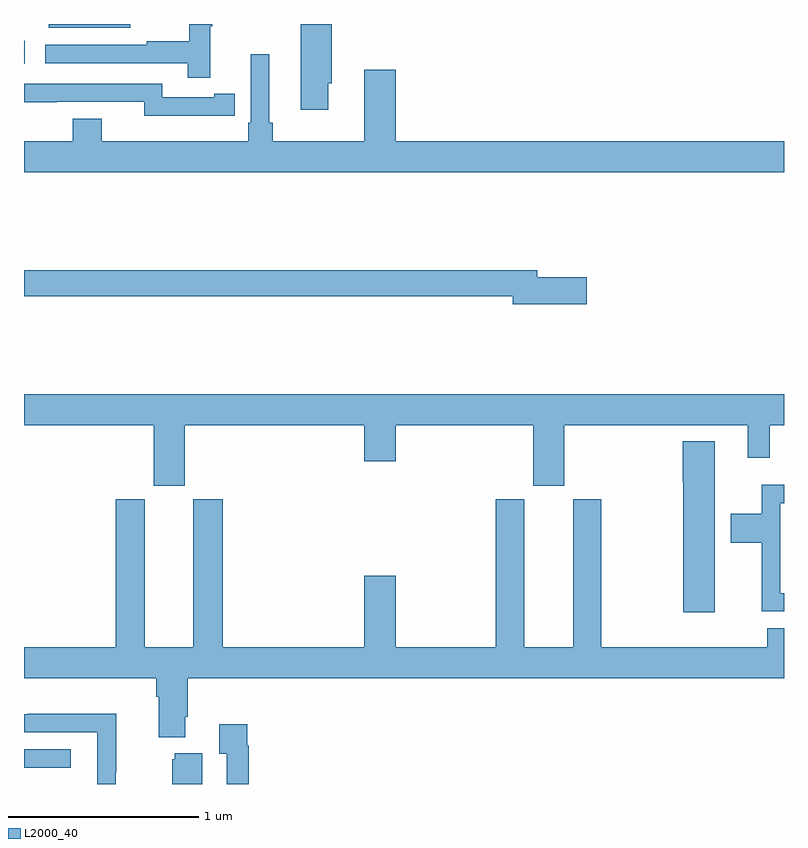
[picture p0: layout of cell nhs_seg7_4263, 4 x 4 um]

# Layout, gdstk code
import gdstk
lib = gdstk.Library(unit=1e-6, precision=1e-09)
def R(c, l, rs):  # rectangles x0, y0, x1, y1
    for r in rs: c.add(gdstk.rectangle(r[:2], r[2:], *l))
def P(c, l, *ps):  # polygons
    for p in ps: c.add(gdstk.Polygon(p, *l))
L2000_40 = (2000, 40)

nhs_seg7_4263 = lib.new_cell('nhs_seg7_4263')
R(nhs_seg7_4263, L2000_40, [(379,1060.086,379.246,1060.182), (379,1063.791,379.003,1063.911), (379.13,1063.979,379.558,1064)])
P(nhs_seg7_4263, L2000_40, [(379.979,1063.987),(379.99,1063.987),(379.99,1064),(379.869,1064),(379.869,1063.91),(379.645,1063.91),(379.645,1063.89),(379.113,1063.89),(379.113,1063.794),(379.861,1063.794),(379.861,1063.716),(379.979,1063.716)],
  [(380.602,1063.689),(380.62,1063.689),(380.62,1064),(380.456,1064),(380.456,1063.548),(380.602,1063.548)],
  [(383,1063.384),(380.956,1063.384),(380.956,1063.759),(380.792,1063.759),(380.792,1063.384),(380.309,1063.384),(380.309,1063.48),(380.29,1063.48),(380.29,1063.84),(380.193,1063.84),(380.193,1063.48),(380.18,1063.48),(380.18,1063.384),(379.408,1063.384),(379.408,1063.501),(379.256,1063.501),(379.256,1063.384),(379,1063.384),(379,1063.22),(383,1063.22)],
  [(380,1063.518),(380.108,1063.518),(380.108,1063.634),(380,1063.634),(380,1063.614),(379.728,1063.614),(379.728,1063.686),(379,1063.686),(379,1063.589),(379.172,1063.589),(379.172,1063.59),(379.632,1063.59),(379.632,1063.517),(380,1063.517)],
  [(381.961,1062.668),(381.7,1062.668),(381.7,1062.704),(379,1062.704),(379,1062.568),(381.572,1062.568),(381.572,1062.526),(381.961,1062.526)],
  [(379.846,1061.888),(380.792,1061.888),(380.792,1061.7),(380.956,1061.7),(380.956,1061.888),(381.68,1061.888),(381.68,1061.571),(381.844,1061.571),(381.844,1061.888),(382.808,1061.888),(382.808,1061.718),(382.925,1061.718),(382.925,1061.888),(383,1061.888),(383,1062.052),(379,1062.052),(379,1061.888),(379.682,1061.888),(379.682,1061.571),(379.846,1061.571)],
  [(382.636,1061.803),(382.466,1061.803),(382.466,1061.59),(382.471,1061.59),(382.471,1060.905),(382.636,1060.905)],
  [(383,1061.004),(382.98,1061.004),(382.98,1061.478),(383,1061.478),(383,1061.575),(382.882,1061.575),(382.882,1061.422),(382.721,1061.422),(382.721,1061.27),(382.882,1061.27),(382.882,1060.908),(383,1060.908)],
  [(379.849,1060.354),(379.862,1060.354),(379.862,1060.556),(383,1060.556),(383,1060.819),(382.913,1060.819),(382.913,1060.72),(382.038,1060.72),(382.038,1061.499),(381.89,1061.499),(381.89,1060.72),(381.634,1060.72),(381.634,1061.499),(381.482,1061.499),(381.482,1060.72),(380.956,1060.72),(380.956,1061.095),(380.792,1061.095),(380.792,1060.72),(380.045,1060.72),(380.045,1061.499),(379.892,1061.499),(379.892,1060.72),(379.636,1060.72),(379.636,1061.499),(379.484,1061.499),(379.484,1060.72),(379,1060.72),(379,1060.556),(379.697,1060.556),(379.697,1060.46),(379.709,1060.46),(379.709,1060.247),(379.849,1060.247)],
  [(379.482,1060.063),(379.485,1060.063),(379.485,1060.37),(379.021,1060.37),(379.021,1060.368),(379,1060.368),(379,1060.272),(379.385,1060.272),(379.385,1060.039),(379.386,1060.039),(379.386,1060),(379.482,1060)],
  [(380.183,1060.202),(380.176,1060.202),(380.176,1060.315),(380.027,1060.315),(380.027,1060.159),(380.067,1060.159),(380.067,1060),(380.183,1060)],
  [(379.939,1060.162),(379.793,1060.162),(379.793,1060.131),(379.781,1060.131),(379.781,1060),(379.939,1060)])

lib.write_gds('nhs_seg7_4263.gds')
